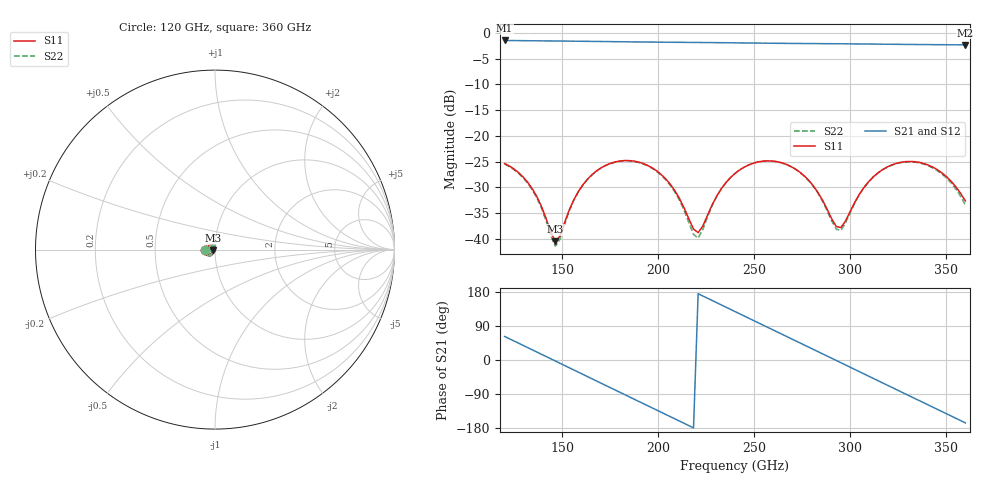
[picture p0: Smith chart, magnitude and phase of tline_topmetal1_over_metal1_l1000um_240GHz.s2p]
#  GHZ S DB R 50
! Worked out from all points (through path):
!   101 points, 120 GHz to 360 GHz, reference 50 ohm
!   highest |S21| = -1.46 dB at 120 GHz (marker M1); lowest = -2.3 dB at 360 GHz (marker M2)
!   group delay of S21, straight-line fit = 6.81 ps
!   lowest |S11| = -40.5 dB at 146.4 GHz (marker M3), VSWR 1.02, Z = 49.1 - j0.243 ohm
!   |S11| at or under -10 dB: start of sweep to end of sweep
!   |S22| runs from -41.4 to -24.9 dB; largest |S21 - S12| = 9.1e-14
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120  -25.38 -176.0  -1.46 62.2  -1.46 62.2  -25.48 -177.1
134.4  -30.28 157.5  -1.52 26.9  -1.52 26.9  -30.47 155.6
146.4  -40.48 -164.8  -1.57 -2.6  -1.57 -2.6  -41.44 -164.5
160.8  -29.49 -119.0  -1.63 -38.0  -1.63 -38.0  -29.55 -118.1
180  -24.89 -155.4  -1.71 -85.1  -1.71 -85.1  -24.94 -155.6
189.6  -25.08 -175.3  -1.75 -108.6  -1.75 -108.6  -25.15 -175.9
201.6  -27.52 162.1  -1.80 -138.0  -1.80 -138.0  -27.65 160.9
211.2  -32.26 152.7  -1.83 -161.5  -1.83 -161.5  -32.59 150.3
220.8  -38.80 -162.5  -1.86 175.0  -1.86 175.0  -39.87 -159.6
230.4  -31.75 -125.0  -1.89 151.4  -1.89 151.4  -31.82 -122.0
240  -27.31 -135.4  -1.93 127.9  -1.93 127.9  -27.30 -133.9
249.6  -25.31 -152.9  -1.97 104.3  -1.97 104.3  -25.30 -152.0
259.2  -24.89 -171.7  -2.00 80.9  -2.00 80.9  -24.89 -171.4
268.8  -25.89 170.0  -2.04 57.4  -2.04 57.4  -25.91 169.9
280.8  -29.72 152.4  -2.07 28.0  -2.07 28.0  -29.81 151.6
292.8  -37.64 178.0  -2.11 -1.4  -2.11 -1.4  -38.17 177.6
295.2  -37.81 -162.1  -2.11 -7.3  -2.11 -7.3  -38.33 -161.0
307.2  -30.01 -131.9  -2.15 -36.7  -2.15 -36.7  -30.07 -131.0
321.6  -25.66 -152.8  -2.21 -72.0  -2.21 -72.0  -25.71 -152.9
338.4  -25.38 176.2  -2.26 -113.1  -2.26 -113.1  -25.49 174.9
350.4  -28.02 157.5  -2.30 -142.4  -2.30 -142.4  -28.28 154.9
360  -32.65 155.2  -2.32 -166.0  -2.32 -166.0  -33.44 150.9
